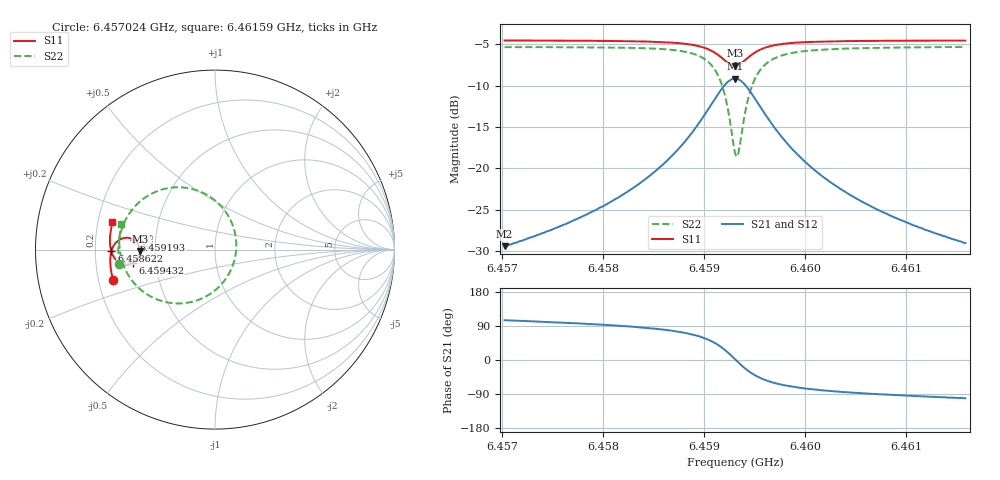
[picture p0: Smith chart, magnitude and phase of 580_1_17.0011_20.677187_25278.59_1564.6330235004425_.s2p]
#  HZ  S  RI  R  50.00
! Rohde & Schwarz Vector Network Analyzer
! Rohde-Schwarz,ZNB20-2Port,1311601062101988,3.16
! Created: UTC 3/20/2024, 11:18:04 PM
! freq[Hz]  re:S11  im:S11  re:S21  im:S21  re:S12  im:S12  re:S22  im:S22
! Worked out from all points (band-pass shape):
!   401 points, 6.457024 GHz to 6.46159 GHz, reference 50 ohm
!   highest |S21| = -9.15 dB at 6.459307 GHz (marker M1); lowest = -29.4 dB at 6.457024 GHz (marker M2)
!   |S21| within 3 dB of the highest: 6.459079 GHz to 6.459535 GHz (456.2 kHz wide, 0.00706 % of centre)
!   lowest |S11| = -7.6 dB at 6.459307 GHz (marker M3), VSWR 2.43, Z = 20.6 - j0.423 ohm
!   |S11| at or under -10 dB: nowhere
!   |S22| runs from -18.5 to -5.3 dB; largest |S21 - S12| = 0.014
!   S11 on the Smith chart (normalised r, x): 6.457024 GHz: 0.26, -0.14; 6.458622 GHz: 0.27, -0.01; 6.459193 GHz: 0.37, +0.05; 6.459432 GHz: 0.37, -0.07; 6.46159 GHz: 0.26, +0.12
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6.4570236e9  -0.5677 -0.1685  -0.00877 0.0328  -0.00703 0.0327  -0.5337 -0.0805
6.4577885e9  -0.5812 -0.1016  -0.00545 0.0508  -0.00274 0.0502  -0.5383 0.00965
6.4582109e9  -0.5839 -0.0591  0.000788 0.0705  0.00404 0.0691  -0.5297 0.0772
6.4585534e9  -0.58 -0.0179  0.0149 0.0995  0.0189 0.0966  -0.5037 0.155
6.4586219e9  -0.5775 -0.00836  0.0202 0.1078  0.0244 0.1047  -0.4934 0.1752
6.458816e9  -0.5646 0.022  0.047 0.139  0.0512 0.134  -0.4428 0.2444
6.4589644e9  -0.5418 0.0482  0.0928 0.1696  0.096 0.1628  -0.3584 0.309
6.4591014e9  -0.4976 0.0656  0.1808 0.1859  0.1817 0.1785  -0.1975 0.3473
6.4591927e9  -0.4528 0.0551  0.2713 0.1542  0.2716 0.1483  -0.0296 0.2957
6.4592612e9  -0.4235 0.0228  0.3323 0.0815  0.3344 0.0762  0.0867 0.1644
6.4593069e9  -0.4166 -0.00848  0.3485 0.0129  0.3523 0.00594  0.1187 0.036
6.4593183e9  -0.4171 -0.0167  0.3482 -0.00509  0.3522 -0.0127  0.1184 0.0019
6.4593411e9  -0.4208 -0.0324  0.3426 -0.0402  0.3465 -0.0493  0.1068 -0.0646
6.4593868e9  -0.4364 -0.0588  0.3134 -0.1004  0.3158 -0.1125  0.0478 -0.1791
6.4594324e9  -0.4587 -0.0752  0.2708 -0.1417  0.27 -0.1552  -0.0385 -0.2542
6.4595238e9  -0.5024 -0.0821  0.1851 -0.1726  0.1787 -0.1846  -0.2096 -0.3002
6.4596722e9  -0.5466 -0.0614  0.0964 -0.1584  0.0878 -0.1647  -0.3787 -0.2492
6.459832e9  -0.5682 -0.0335  0.0514 -0.13  0.0435 -0.1328  -0.4596 -0.1761
6.4600718e9  -0.5809 0.00189  0.0219 -0.0982  0.0162 -0.0987  -0.5077 -0.0928
6.4604142e9  -0.5853 0.0429  0.00613 -0.071  0.00201 -0.0704  -0.5289 -0.0131
6.4608366e9  -0.5835 0.0854  -0.00163 -0.0522  -0.00452 -0.0513  -0.5328 0.0551
6.4615901e9  -0.5713 0.1523  -0.00676 -0.0348  -0.00842 -0.0339  -0.5213 0.1447
